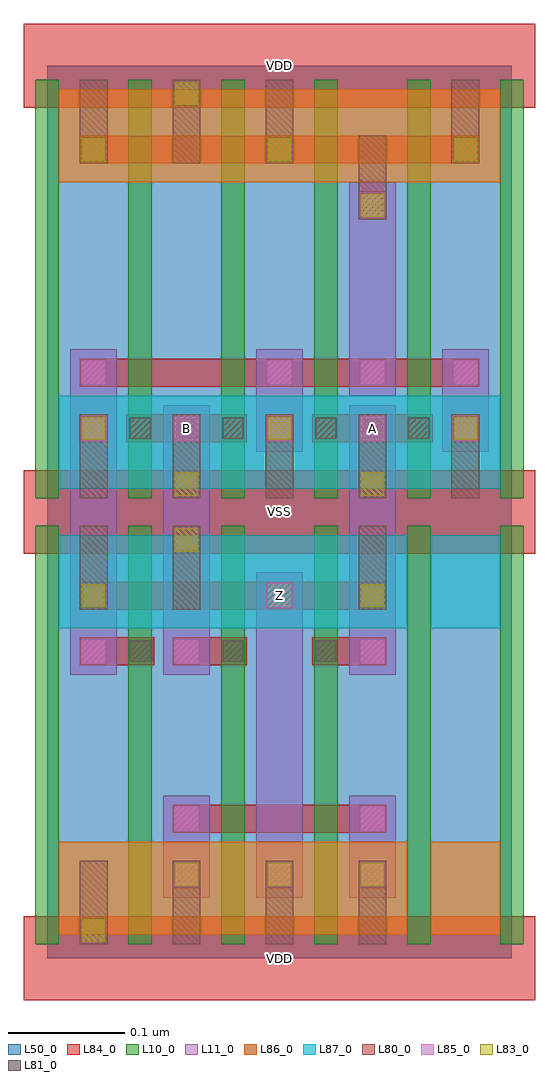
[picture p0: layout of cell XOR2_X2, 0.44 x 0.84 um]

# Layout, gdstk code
import gdstk
lib = gdstk.Library(unit=1e-6, precision=1e-09)
def R(c, l, rs):  # rectangles x0, y0, x1, y1
    for r in rs: c.add(gdstk.rectangle(r[:2], r[2:], *l))
def A(c, l, x, y, w, h, nx, ny, dx, dy):  # array of equal rectangles
    R(c, l, [(x+i*dx, y+j*dy, x+i*dx+w, y+j*dy+h) for i in range(nx) for j in range(ny)])
L10_0 = (10, 0)
L11_0 = (11, 0)
L50_0 = (50, 0)
L80_0 = (80, 0)
L81_0 = (81, 0)
L83_0 = (83, 0)
L84_0 = (84, 0)
L85_0 = (85, 0)
L86_0 = (86, 0)
L87_0 = (87, 0)

xor2_x2 = lib.new_cell('XOR2_X2')
A(xor2_x2, L10_0, -0.01, 0.012, 0.02, 0.36, 6, 2, 0.08, 0.384)
R(xor2_x2, L11_0, [(0.1,0.052,0.14,0.14), (0.18,0.052,0.22,0.332), (0.26,0.052,0.3,0.14), (0.02,0.244,0.06,0.524), (0.1,0.244,0.14,0.476), (0.26,0.244,0.3,0.476), (0.18,0.436,0.22,0.524), (0.34,0.436,0.38,0.524), (0.26,0.484,0.3,0.668)])
R(xor2_x2, L50_0, [(0,0,0.4,0.768)])
A(xor2_x2, L80_0, 0.028, 0.012, 0.024, 0.072, 4, 1, 0.08, 0)
A(xor2_x2, L80_0, 0.028, 0.396, 0.024, 0.072, 5, 1, 0.08, 0)
A(xor2_x2, L80_0, 0.028, 0.684, 0.024, 0.072, 3, 1, 0.08, 0)
R(xor2_x2, L80_0, [(0.028,0.3,0.052,0.372), (0.108,0.3,0.132,0.372), (0.268,0.3,0.292,0.372), (0.268,0.636,0.292,0.708), (0.348,0.684,0.372,0.756)])
A(xor2_x2, L81_0, 0.071, 0.255, 0.018, 0.018, 3, 1, 0.08, 0)
A(xor2_x2, L81_0, 0.071, 0.447, 0.018, 0.018, 4, 1, 0.08, 0)
A(xor2_x2, L83_0, 0.11, 0.062, 0.02, 0.02, 3, 1, 0.08, 0)
A(xor2_x2, L83_0, 0.03, 0.446, 0.02, 0.02, 3, 2, 0.16, 0.24)
R(xor2_x2, L83_0, [(0.03,0.014,0.05,0.034), (0.03,0.302,0.05,0.322), (0.27,0.302,0.29,0.322), (0.11,0.35,0.13,0.37), (0.11,0.398,0.13,0.418), (0.27,0.398,0.29,0.418), (0.27,0.638,0.29,0.658), (0.11,0.734,0.13,0.754)])
A(xor2_x2, L84_0, -0.02, -0.036, 0.44, 0.072, 1, 3, 0, 0.384)
A(xor2_x2, L84_0, 0.108, 0.06, 0.024, 0.024, 3, 1, 0.08, 0)
A(xor2_x2, L84_0, 0.028, 0.444, 0.024, 0.024, 3, 1, 0.16, 0)
R(xor2_x2, L84_0, [(0.108,0.108,0.292,0.132), (0.028,0.252,0.092,0.276), (0.108,0.252,0.172,0.276), (0.228,0.252,0.292,0.276), (0.028,0.3,0.292,0.324), (0.068,0.444,0.172,0.468), (0.228,0.444,0.332,0.468), (0.028,0.492,0.372,0.516), (0.268,0.636,0.292,0.66), (0.028,0.684,0.372,0.708)])
A(xor2_x2, L85_0, 0.109, 0.061, 0.022, 0.022, 3, 1, 0.08, 0)
A(xor2_x2, L85_0, 0.029, 0.445, 0.022, 0.022, 5, 1, 0.08, 0)
A(xor2_x2, L85_0, 0.189, 0.493, 0.022, 0.022, 3, 1, 0.08, 0)
R(xor2_x2, L85_0, [(0.109,0.109,0.131,0.131), (0.269,0.109,0.291,0.131), (0.029,0.253,0.051,0.275), (0.109,0.253,0.131,0.275), (0.269,0.253,0.291,0.275), (0.189,0.301,0.211,0.323), (0.029,0.493,0.051,0.515), (0.269,0.637,0.291,0.659)])
R(xor2_x2, L86_0, [(0.01,0.02,0.31,0.1), (0.33,0.02,0.39,0.1), (0.01,0.668,0.39,0.748)])
R(xor2_x2, L87_0, [(0.01,0.284,0.31,0.364), (0.33,0.284,0.39,0.364), (0.01,0.404,0.39,0.484)])
xor2_x2.add(gdstk.Label('VDD', (0.2,0.768), layer=88, texttype=0))
xor2_x2.add(gdstk.Label('VDD', (0.2,0), layer=88, texttype=0))
xor2_x2.add(gdstk.Label('VSS', (0.2,0.384), layer=88, texttype=0))
xor2_x2.add(gdstk.Label('Z', (0.2,0.312), layer=31, texttype=0))
xor2_x2.add(gdstk.Label('B', (0.12,0.456), layer=31, texttype=0))
xor2_x2.add(gdstk.Label('A', (0.28,0.456), layer=31, texttype=0))

lib.write_gds('XOR2_X2.gds')
